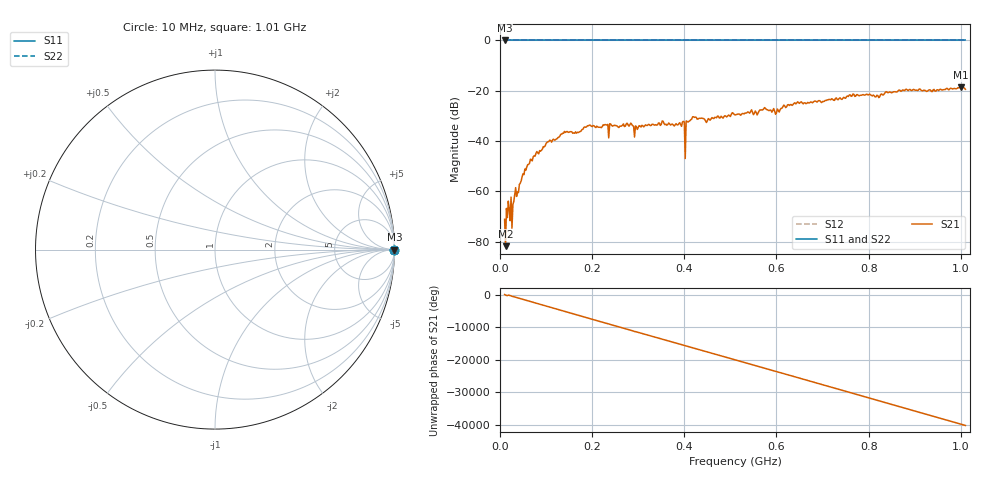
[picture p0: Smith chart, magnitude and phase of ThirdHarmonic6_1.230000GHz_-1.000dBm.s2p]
! 8/16/2025 12:59:04 PM
! C:\ANRITSUVNA\TEMP\TEMP.S2P
! CHANNEL.1
! TR.MEASUREMENT
! RAW.DATA
! RF.CORRECTION.OFF
! AVERAGING.OFF
! IF.BANDWIDTH: 5KHZ
! SWEEPTYPE:  FREQ.SWEEP(Linear)
! Reference Plane Port Info
! PORT:  PORT1  PORT2
! DISTANCE:  0  m  0  m
! TIME:  0  s  0  s
! PHASE.OFFSET:  0  deg.  0  deg.
! LOSS:  0  dB  0  dB
! REF.LOSS:  0  dB  0  dB
! REF.FREQ:  0  Hz  0  Hz
! Power Info
! POWER:  -20  dBm  -20  dBm
! EFF.POWER:  -20  dBm  -20  dBm
! SOURCE.ATTEN:  0  dB  0  dB
! TEST.ATTEN:  0  dB  0  dB
# GHZ S RI R 50.0
! FREQ.GHZ  S11RE  S11IM  S21RE  S21IM  S12RE  S12IM  S22RE  S22IM
!; PortSelection: Port_12
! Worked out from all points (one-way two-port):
!   501 points, 10 MHz to 1.01 GHz, reference 50 ohm
!   highest |S21| = -18.57 dB at 1 GHz (marker M1); lowest = -81.8 dB at 12 MHz (marker M2)
!   lowest |S11| = 0.0 dB at 10 MHz (marker M3)
!   |S11| at or under -10 dB: nowhere
!   |S22| runs from 0.0 to 0.0 dB; largest |S21 - S12| = 1.1
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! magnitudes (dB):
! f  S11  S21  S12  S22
! 10 MHz  0.0  -71.1  0.0  0.0
! 12 MHz  0.0  -81.8  0.0  0.0
! 20 MHz  0.0  -67.0  0.0  0.0
! 26 MHz  0.0  -74.6  0.0  0.0
! 32 MHz  0.0  -61.3  0.0  0.0
! 52 MHz  0.0  -53.3  0.0  0.0
! 76 MHz  0.0  -46.0  0.0  0.0
! 136 MHz  0.0  -36.8  0.0  0.0
! 178 MHz  0.0  -35.4  0.0  0.0
! 344 MHz  0.0  -32.8  0.0  0.0
! 396 MHz  0.0  -32.4  0.0  0.0
! 398 MHz  0.0  -32.1  0.0  0.0
! 422 MHz  0.0  -30.6  0.0  0.0
! 450 MHz  0.0  -31.9  0.0  0.0
! 510 MHz  0.0  -29.6  0.0  0.0
! 574 MHz  0.0  -26.7  0.0  0.0
! 602 MHz  0.0  -27.2  0.0  0.0
! 642 MHz  0.0  -25.2  0.0  0.0
! 678 MHz  0.0  -24.8  0.0  0.0
! 844 MHz  0.0  -20.6  0.0  0.0
! 1 GHz  0.0  -18.6  0.0  0.0
! 1.01 GHz  0.0  -19.4  0.0  0.0
